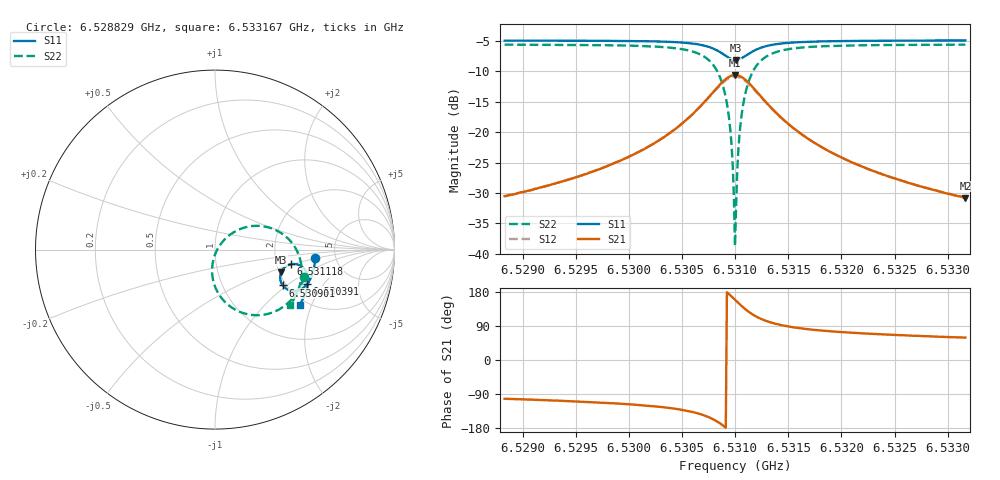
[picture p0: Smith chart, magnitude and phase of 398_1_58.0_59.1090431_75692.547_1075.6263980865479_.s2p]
#  HZ  S  RI  R  50.00
! Rohde & Schwarz Vector Network Analyzer
! Rohde-Schwarz,ZNB20-2Port,1311601062101988,3.16
! Created: UTC 3/21/2024, 1:08:07 AM
! freq[Hz]  re:S11  im:S11  re:S21  im:S21  re:S12  im:S12  re:S22  im:S22
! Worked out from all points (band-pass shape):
!   401 points, 6.528829 GHz to 6.533167 GHz, reference 50 ohm
!   highest |S21| = -10.66 dB at 6.530998 GHz (marker M1); lowest = -30.8 dB at 6.533167 GHz (marker M2)
!   |S21| within 3 dB of the highest: 6.530783 GHz to 6.531216 GHz (433.8 kHz wide, 0.00664 % of centre)
!   lowest |S11| = -8.2 dB at 6.531009 GHz (marker M3), VSWR 2.28, Z = 102 - j30.4 ohm
!   |S11| at or under -10 dB: nowhere
!   |S22| runs from -38.7 to -5.7 dB; largest |S21 - S12| = 0.011
!   S11 on the Smith chart (normalised r, x): 6.528829 GHz: 3.48, -0.50; 6.530391 GHz: 2.56, -1.40; 6.530901 GHz: 1.91, -0.94; 6.531118 GHz: 2.41, -0.48; 6.533167 GHz: 1.82, -1.65
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6.5288295e9  0.559 -0.0492  -0.00633 -0.0291  -0.00677 -0.029  0.4979 -0.152
6.529556e9  0.5496 -0.1089  -0.0152 -0.0413  -0.0161 -0.0412  0.4689 -0.2185
6.5302826e9  0.5223 -0.1793  -0.0471 -0.0713  -0.049 -0.07  0.3914 -0.311
6.530391e9  0.5134 -0.192  -0.0595 -0.079  -0.0617 -0.0774  0.365 -0.3289
6.530738e9  0.4471 -0.2303  -0.1612 -0.0954  -0.1634 -0.0891  0.1726 -0.3582
6.5308356e9  0.4066 -0.223  -0.2241 -0.0673  -0.2231 -0.0584  0.0665 -0.3021
6.5309007e9  0.3779 -0.1996  -0.2661 -0.0174  -0.2613 -0.00818  0.00235 -0.2116
6.530944e9  0.3654 -0.1734  -0.2822 0.033  -0.2743 0.0406  -0.0162 -0.1251
6.5309657e9  0.363 -0.1578  -0.283 0.0615  -0.274 0.0679  -0.0134 -0.0776
6.5309766e9  0.3631 -0.1497  -0.2814 0.0763  -0.2719 0.0818  -0.0084 -0.0536
6.5309874e9  0.364 -0.1418  -0.2783 0.0909  -0.2685 0.0954  -0.000906 -0.0301
6.5309982e9  0.3659 -0.1339  -0.2736 0.1053  -0.2638 0.1088  0.00894 -0.00737
6.5310091e9  0.3687 -0.126  -0.2677 0.1189  -0.2577 0.1216  0.0207 0.0144
6.5310199e9  0.3721 -0.1188  -0.2605 0.1321  -0.2507 0.1339  0.0349 0.0347
6.5310525e9  0.3867 -0.0999  -0.2322 0.1654  -0.2233 0.1648  0.0864 0.0849
6.531085e9  0.4052 -0.0874  -0.1982 0.1878  -0.1907 0.1856  0.1462 0.117
6.5311175e9  0.4248 -0.0809  -0.1631 0.1997  -0.1574 0.1968  0.2062 0.1311
6.5311934e9  0.464 -0.0844  -0.0938 0.1977  -0.091 0.195  0.3228 0.1155
6.5313019e9  0.4972 -0.1072  -0.0357 0.1672  -0.0344 0.1658  0.4176 0.0504
6.5317248e9  0.5192 -0.1834  0.0145 0.0826  0.0154 0.0823  0.4831 -0.1288
6.5324513e9  0.4993 -0.2556  0.017 0.0394  0.0176 0.0393  0.4555 -0.2446
6.533167e9  0.4714 -0.3083  0.0148 0.0247  0.0153 0.0246  0.4204 -0.3067
